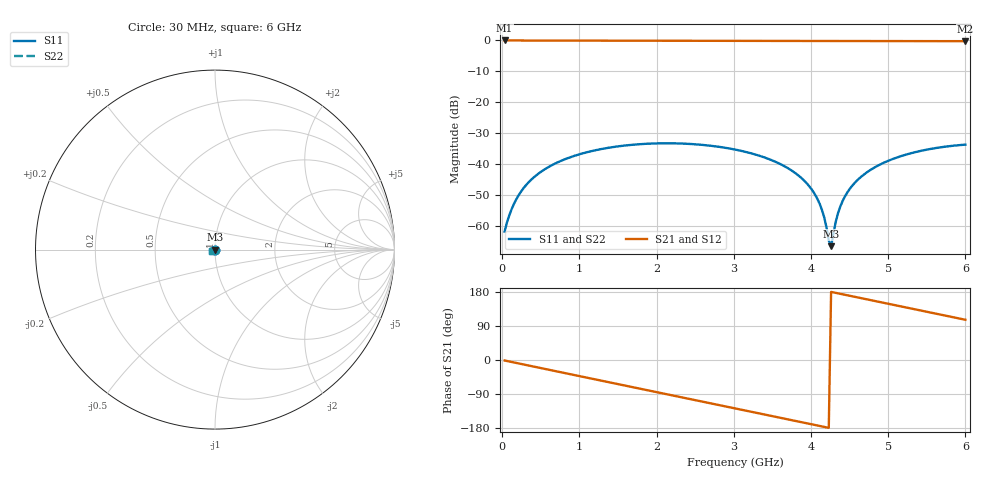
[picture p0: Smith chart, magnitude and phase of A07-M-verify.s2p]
! yapnr Order 0 O0-M: O0-M A07 M VER21 (verify, family M)
! stackup OSHPARK-4L-EM528, nominal parameters; geometry of the OSHPARK-4L-FR408HR design
! model: 2D quasi-static RLGC (Djordjevic-Sarkar, Huray roughness, Wheeler loss); generated by python -m yapnr.rf.coupons expected --stackup OSHPARK-4L-FR408HR --upload M
! reference planes 10 mm from each end; 50 ohm (from the M line's Zc)
# GHz S DB R 50
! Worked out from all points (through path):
!   200 points, 30 MHz to 6 GHz, reference 50 ohm
!   highest |S21| = -0.01 dB at 30 MHz (marker M1); lowest = -0.2 dB at 6 GHz (marker M2)
!   group delay of S21, straight-line fit = 117 ps
!   lowest |S11| = -66.4 dB at 4.26 GHz (marker M3), VSWR 1.00, Z = 50 - j0.0166 ohm
!   |S11| at or under -10 dB: start of sweep to end of sweep
!   |S22| runs from -66.4 to -33.2 dB; largest |S21 - S12| = 0
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0.03  -61.69 5.4  -0.01 -1.3  -0.01 -1.3  -61.69 5.4
0.15  -52.82 -48.2  -0.02 -6.5  -0.02 -6.5  -52.82 -48.2
0.36  -45.31 -78.0  -0.03 -15.4  -0.03 -15.4  -45.31 -78.0
0.66  -40.04 -99.5  -0.05 -28.1  -0.05 -28.1  -40.04 -99.5
1.05  -36.39 -120.7  -0.07 -44.6  -0.07 -44.6  -36.39 -120.7
1.56  -34.00 -145.1  -0.09 -66.2  -0.09 -66.2  -34.00 -145.1
2.04  -33.21 -166.8  -0.11 -86.5  -0.11 -86.5  -33.21 -166.8
2.52  -33.56 172.0  -0.13 -106.8  -0.13 -106.8  -33.56 172.0
3.03  -35.29 150.1  -0.14 -128.3  -0.14 -128.3  -35.29 150.1
3.66  -40.66 124.2  -0.16 -155.0  -0.16 -155.0  -40.66 124.2
3.87  -44.29 116.7  -0.17 -163.8  -0.17 -163.8  -44.29 116.7
4.02  -48.50 113.0  -0.18 -170.2  -0.18 -170.2  -48.50 113.0
4.14  -54.57 115.1  -0.18 -175.2  -0.18 -175.2  -54.57 115.1
4.2  -60.32 126.9  -0.18 -177.8  -0.18 -177.8  -60.32 126.9
4.23  -64.62 148.9  -0.18 -179.0  -0.18 -179.0  -64.62 148.9
4.26  -66.41 -159.7  -0.18 179.7  -0.18 179.7  -66.41 -159.7
4.35  -55.73 -104.6  -0.19 175.9  -0.19 175.9  -55.73 -104.6
4.47  -49.08 -100.9  -0.19 170.8  -0.19 170.8  -49.08 -100.9
4.68  -43.38 -106.2  -0.20 161.9  -0.20 161.9  -43.38 -106.2
5.01  -38.75 -118.6  -0.21 148.0  -0.21 148.0  -38.75 -118.6
5.52  -35.15 -139.4  -0.23 126.4  -0.23 126.4  -35.15 -139.4
6  -33.63 -159.3  -0.24 106.2  -0.24 106.2  -33.63 -159.3
